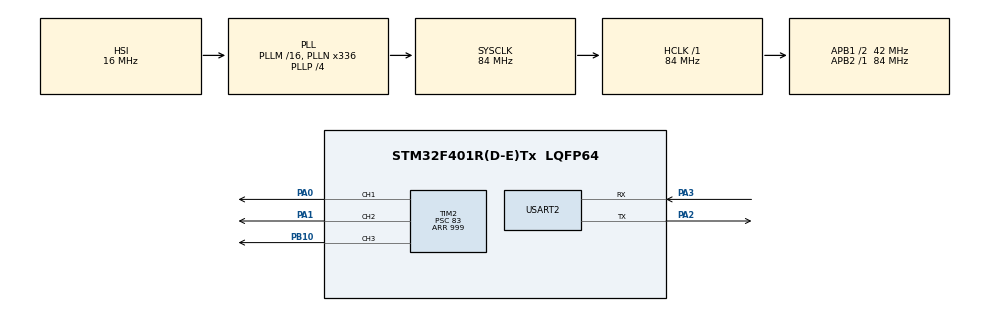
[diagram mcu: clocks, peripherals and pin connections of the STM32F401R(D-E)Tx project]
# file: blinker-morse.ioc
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Mcu.Family=STM32F4
Mcu.Name=STM32F401R(D-E)Tx
Mcu.Package=LQFP64
NVIC.PriorityGroup=NVIC_PRIORITYGROUP_0
NVIC.USART2_IRQn=true\:0\:0\:false\:false\:true\:true\:true\:true
PA0-WKUP.Signal=S_TIM2_CH1_ETR
PA1.Signal=S_TIM2_CH2
PA2.Mode=Asynchronous
PA2.Signal=USART2_TX
PA3.Mode=Asynchronous
PA3.Signal=USART2_RX
PB10.Signal=S_TIM2_CH3
ProjectManager.HeapSize=0x200
ProjectManager.StackSize=0x400
ProjectManager.TargetToolchain=STM32CubeIDE
RCC.48MHZClocksFreq_Value=48000000
RCC.AHBFreq_Value=84000000
RCC.APB1CLKDivider=RCC_HCLK_DIV2
RCC.APB1Freq_Value=42000000
RCC.APB1TimFreq_Value=84000000
RCC.APB2Freq_Value=84000000
RCC.APB2TimFreq_Value=84000000
RCC.CortexFreq_Value=84000000
RCC.HCLKFreq_Value=84000000
RCC.HSE_VALUE=8000000
RCC.HSI_VALUE=16000000
RCC.LSE_VALUE=32768
RCC.PLLN=336
RCC.PLLP=RCC_PLLP_DIV4
RCC.PLLQ=7
RCC.SYSCLKFreq_VALUE=84000000
RCC.SYSCLKSource=RCC_SYSCLKSOURCE_PLLCLK
RCC.VCOOutputFreq_Value=336000000
SH.S_TIM2_CH1_ETR.0=TIM2_CH1,PWM Generation1 CH1
SH.S_TIM2_CH2.0=TIM2_CH2,PWM Generation2 CH2
SH.S_TIM2_CH3.0=TIM2_CH3,PWM Generation3 CH3
TIM2.Channel-PWM\ Generation1\ CH1=TIM_CHANNEL_1
TIM2.Channel-PWM\ Generation2\ CH2=TIM_CHANNEL_2
TIM2.Channel-PWM\ Generation3\ CH3=TIM_CHANNEL_3
TIM2.Period=999
TIM2.Prescaler=83
USART2.VirtualMode=VM_ASYNC
VP_TIM2_VS_ClockSourceINT.Mode=Internal
board=NUCLEO-F401RE

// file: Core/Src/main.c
/* USER CODE BEGIN Header */
/**
  ******************************************************************************
  * @file           : main.c
  * @brief          : Main program body
  ******************************************************************************
  * @attention
  *
  * Copyright (c) 2026 STMicroelectronics.
  * All rights reserved.
  *
  * This software is licensed under terms that can be found in the LICENSE file
  * in the root directory of this software component.
  * If no LICENSE file comes with this software, it is provided AS-IS.
  *
  ******************************************************************************
  */
/* USER CODE END Header */
#include "main.h"

/* USER CODE BEGIN Includes */
#include <string.h>
#include <stdlib.h>
#include <stdbool.h>

/* USER CODE END Includes */

TIM_HandleTypeDef htim2;

UART_HandleTypeDef huart2;

void SystemClock_Config(void);
static void MX_GPIO_Init(void);
static void MX_USART2_UART_Init(void);
static void MX_TIM2_Init(void);

/* USER CODE BEGIN 0 */

uint8_t rx_byte;
char buffer[32];
volatile uint8_t idx = 0;              //  текущая позиция в buffer
volatile uint8_t command_ready = 0;
uint32_t last_toggle = 0;
const char alph[33][5]={{0,0,0,0,0},
		{1,3,0,0,0},{3,1,1,1,0},{1,3,3,0,0},{3,3,1,0,0},{3,1,1,0,0},{1,0,0,0,0}, //абвгде
		{1,1,1,3,0},{3,3,1,1,0},{1,1,0,0,0},{1,3,3,3,0},{3,1,3,0,0},{1,3,1,1,0}, //жзийкл
		{3,3,0,0,0},{3,1,0,0,0},{3,3,3,0,0},{1,3,3,1,0},{1,3,1,0,0},{1,1,1,0,0}, //мнопрс
		{3,0,0,0,0},{1,1,3,0,0},{1,1,3,1,0},{1,1,1,1,0},{3,1,3,1,0},{3,3,3,1,0}, //туфхцч
		{3,3,3,3,0},{3,3,1,3,0},{3,1,1,3,0},{3,1,1,3,0},{3,1,3,3,0},{1,1,3,1,1}, //шщьъыэ
		{1,1,3,3,0},{1,3,1,3,0}													 //юя
		};

char out_buf[40];
char local_buf[32];

void HAL_UART_RxCpltCallback(UART_HandleTypeDef *huart){

	if (huart->Instance ==USART2){
        if (rx_byte == '\r' || rx_byte == '\n') {
            if (idx > 0) {
                buffer[idx] = '\0';
                command_ready = 1;

            }
            idx = 0;
        }
        else if (idx < sizeof(buffer) - 1) {
            buffer[idx] = rx_byte;
            idx = idx+1;
        }

        HAL_UART_Receive_IT(&huart2, &rx_byte, 1);
    }
}

typedef enum {
	    MODE_OFF,
		MODE_ON,
	    MODE_BLINK,
	    MODE_BREATHE,
	    MODE_MORSE,
		MODE_MORSE_READ,
	    MODE_COUNT
	} led_mode;

typedef struct {
	led_mode mode;
	uint32_t channel;
    uint16_t spd;		//скорость
    uint16_t bright;
    uint32_t last_toggle;	//
    signed char dir;
    signed char level;
    char morse_letter;
    uint8_t morse_str[16];
    char morse_idx;
    uint32_t morse_next_time;
    char state;

} Led;

void off_tick(Led*led) {
	__HAL_TIM_SET_COMPARE(&htim2, led->channel, 0);
	led->state = 0;
};

void on_tick(Led*led) {
	__HAL_TIM_SET_COMPARE(&htim2, led->channel, led->bright);
	led->state = 1;
};
void blink_tick(Led*led) {
	if (HAL_GetTick() - led->last_toggle >= led->spd) {
		__HAL_TIM_SET_COMPARE(&htim2, led->channel, led->bright*led->state);
		if (led->state >0 ){
			led->state = 0;
		}
		else{
			led->state=1;
		}
		led->last_toggle = HAL_GetTick();

	}
};

void breathe_tick(Led*led) {
	if (HAL_GetTick() - led->last_toggle >= led->spd/10){
		__HAL_TIM_SET_COMPARE(&htim2, led->channel, led->bright*led->level/9);
		led->level = led->level + led->dir;
		if (led->level == 9 || led->level == 0){
		    led->dir = -led->dir;
		}
		led->last_toggle = HAL_GetTick();
		}
}

void morse_tick(Led*led) {

	if (led->morse_idx!=sizeof(alph[led->morse_str[0]])/sizeof(alph[led->morse_str[0]][0])){
			if (led->state==1){
				if (HAL_GetTick() - led->last_toggle >= led->spd*alph[led->morse_str[led->morse_letter]][led->morse_idx]/10){
					__HAL_TIM_SET_COMPARE(&htim2, led->channel, 0);
					led->state=0;
					led->morse_idx+=1;
					led->last_toggle = HAL_GetTick();
				}
			}
			else{
				if (HAL_GetTick() - led->last_toggle >= led->spd/10){
					__HAL_TIM_SET_COMPARE(&htim2, led->channel, led->bright);
					led->state=1;
					led->last_toggle = HAL_GetTick();

				}
			}
		}
		else{
			if (led->state==0){
				if (HAL_GetTick() - led->last_toggle >= led->spd*sizeof(alph[led->morse_str[0]])/sizeof(alph[led->morse_str[0]][0])/10){
					__HAL_TIM_SET_COMPARE(&htim2, led->channel, led->bright);
					led->state=1;
					led->morse_letter = (led->morse_letter + 1) % (sizeof(alph[led->morse_str[0]])/sizeof(alph[led->morse_str[0]][0]));
					led->morse_idx=0;
					led->last_toggle = HAL_GetTick();
				}
			}
		}

}

void morse_read(Led*led){
	if (!command_ready) return;
	command_ready = 0;
	char local[32];

	strcpy(local, buffer);
	strcpy(out_buf, local);
	strcat(out_buf, "\r\n");
	HAL_UART_Transmit_IT(&huart2, (uint8_t*)out_buf, strlen(out_buf));

	char i = 0;
	char j = 0;
	while(local[i] != '\0'){
		uint8_t b1 =(uint8_t)local[i];
		uint8_t b2;
		if(b1 >= 0x80){
			 b2 =(uint8_t)local[i+1];
			//i=i+1;
		}

		if (b1 == 0xD0 && b2 == 0x81) { // Ё
		            led->morse_str[j] = 5;
		            j++;
		        }
		        else if (b1 == 0xD1 && b2 == 0x91) { //  ё
		            led->morse_str[j] = 6;
		            j++;
		        }
		        else if ((b2 >> 4) == 9 || (b2 >> 4) == 0xB) { // А-П
		            led->morse_str[j] = (b2 & 0x0F)+1;
		            j++;
		        }
		        else if ((b2 >> 4) == 8 || (b2 >> 4) == 0xA) { // Р-Я
		            led->morse_str[j] = (b2 & 0x0F) + 17;
		            j++;
		        }
		i = i+2;
		//j = j+1;
	}
	led_switch_mode(led, MODE_MORSE);
}

void led_switch_mode(Led*led, led_mode new_mode){
	switch(led->mode){
	case MODE_MORSE:off_tick(led); break;
	case MODE_BREATHE:off_tick(led); break;
	default: break;
	}
	led->mode=new_mode;

	switch(led->mode){
	case MODE_MORSE_READ: memset(led->morse_str, 0, sizeof(led->morse_str)); break;
	case MODE_MORSE: off_tick(led); led->morse_idx = 0; led->morse_next_time = HAL_GetTick(); break;
	case MODE_BREATHE: led->level = 1; led->dir = 1; break;
	case MODE_BLINK: led->state = 0; led->last_toggle = HAL_GetTick();; break;
	}

}

/* USER CODE END 0 */

int main(void)
{

  /* USER CODE BEGIN 1 */

	Led led[3] = {
	        { .channel = TIM_CHANNEL_1, .bright = 500, .spd = 500, .state = 0, .dir = 1, .level = 1, .morse_idx=0, .morse_next_time=0, .morse_letter=0},
	        { .channel = TIM_CHANNEL_2, .bright = 500, .spd = 500, .state = 0, .dir = 1, .level = 1, .morse_idx=0, .morse_next_time=0, .morse_letter=0},
			{ .channel = TIM_CHANNEL_3, .bright = 500, .spd = 500, .state = 0, .dir = 1, .level = 1, .morse_idx=0, .morse_next_time=0, .morse_letter=0},
	    };
  /* USER CODE END 1 */

  /* MCU Configuration--------------------------------------------------------*/

  /* Reset of all peripherals, Initializes the Flash interface and the Systick. */
  HAL_Init();

  /* Configure the system clock */
  SystemClock_Config();

  /* Initialize all configured peripherals */
  MX_GPIO_Init();
  MX_USART2_UART_Init();
  MX_TIM2_Init();
  /* USER CODE BEGIN 2 */
  HAL_TIM_PWM_Start(&htim2, TIM_CHANNEL_1);
  HAL_TIM_PWM_Start(&htim2, TIM_CHANNEL_2);
  HAL_TIM_PWM_Start(&htim2, TIM_CHANNEL_3);
HAL_UART_Receive_IT(&huart2, &rx_byte, 1);

  /* USER CODE END 2 */

  /* Infinite loop */
  /* USER CODE BEGIN WHILE */
  while (1)
  {

	    if (command_ready) {
	        command_ready = 0;

	        strcpy(out_buf, buffer);
	        strcat(out_buf, "\r\n");
	        HAL_UART_Transmit_IT(&huart2, (uint8_t*)out_buf, strlen(out_buf));

	        strcpy(local_buf, buffer);
	        char *ld = strtok(local_buf, " ");
	        char *cmd = strtok(NULL, " ");
	        char *arg_spd = strtok(NULL, " ");
	        char *arg_brg = strtok(NULL, " ");
	        if(cmd !=NULL){
	        	led_mode parsed = MODE_COUNT;
	        	if (strcmp(cmd, "off") == 0)     parsed = MODE_OFF;
	        	if (strcmp(cmd, "on") == 0)     parsed = MODE_ON;
	        	if (strcmp(cmd, "blink") == 0)   parsed = MODE_BLINK;
	        	if (strcmp(cmd, "breathe") == 0) parsed = MODE_BREATHE;
	        	if (strcmp(cmd, "morse") == 0)   parsed = MODE_MORSE_READ;

	   	        if (parsed != MODE_COUNT) {
	   	        	led_switch_mode(&led[atoi(ld)-1], parsed);
	        	}
	        }

	        if (cmd != NULL){
	        	if (arg_spd != NULL){
	        		led[atoi(ld)-1].spd = atoi(arg_spd);
	        	}
	        }
	        if (cmd != NULL){
	        	if (arg_brg != NULL){
	        		led[atoi(ld) -1].bright = atoi(arg_brg);
	        	}
	        }

	    }

	    for (int i = 0; i<3;i+=1){
	    	switch(led[i].mode){
	    	case MODE_OFF:off_tick(&led[i]); break;
	    	case MODE_ON:on_tick(&led[i]); break;
	    	case MODE_BLINK:blink_tick(&led[i]); break;
	    	case MODE_BREATHE:breathe_tick(&led[i]); break;
	    	case MODE_MORSE_READ:morse_read(&led[i]); break;
	    	case MODE_MORSE:morse_tick(&led[i]); break;

	    	default:break;
	    	}
	    }
  }

    /* USER CODE END WHILE */

}

void SystemClock_Config(void)
{
  RCC_OscInitTypeDef RCC_OscInitStruct = {0};
  RCC_ClkInitTypeDef RCC_ClkInitStruct = {0};

  /** Configure the main internal regulator output voltage
  */
  __HAL_RCC_PWR_CLK_ENABLE();
  __HAL_PWR_VOLTAGESCALING_CONFIG(PWR_REGULATOR_VOLTAGE_SCALE2);

  /** Initializes the RCC Oscillators according to the specified parameters
  * in the RCC_OscInitTypeDef structure.
  */
  RCC_OscInitStruct.OscillatorType = RCC_OSCILLATORTYPE_HSI;
  RCC_OscInitStruct.HSIState = RCC_HSI_ON;
  RCC_OscInitStruct.HSICalibrationValue = RCC_HSICALIBRATION_DEFAULT;
  RCC_OscInitStruct.PLL.PLLState = RCC_PLL_ON;
  RCC_OscInitStruct.PLL.PLLSource = RCC_PLLSOURCE_HSI;
  RCC_OscInitStruct.PLL.PLLM = 16;
  RCC_OscInitStruct.PLL.PLLN = 336;
  RCC_OscInitStruct.PLL.PLLP = RCC_PLLP_DIV4;
  RCC_OscInitStruct.PLL.PLLQ = 7;
  if (HAL_RCC_OscConfig(&RCC_OscInitStruct) != HAL_OK)
  {
    Error_Handler();
  }

  /** Initializes the CPU, AHB and APB buses clocks
  */
  RCC_ClkInitStruct.ClockType = RCC_CLOCKTYPE_HCLK|RCC_CLOCKTYPE_SYSCLK
                              |RCC_CLOCKTYPE_PCLK1|RCC_CLOCKTYPE_PCLK2;
  RCC_ClkInitStruct.SYSCLKSource = RCC_SYSCLKSOURCE_PLLCLK;
  RCC_ClkInitStruct.AHBCLKDivider = RCC_SYSCLK_DIV1;
  RCC_ClkInitStruct.APB1CLKDivider = RCC_HCLK_DIV2;
  RCC_ClkInitStruct.APB2CLKDivider = RCC_HCLK_DIV1;

  if (HAL_RCC_ClockConfig(&RCC_ClkInitStruct, FLASH_LATENCY_2) != HAL_OK)
  {
    Error_Handler();
  }
}

static void MX_TIM2_Init(void)
{

  TIM_ClockConfigTypeDef sClockSourceConfig = {0};
  TIM_MasterConfigTypeDef sMasterConfig = {0};
  TIM_OC_InitTypeDef sConfigOC = {0};

  htim2.Instance = TIM2;
  htim2.Init.Prescaler = 83;
  htim2.Init.CounterMode = TIM_COUNTERMODE_UP;
  htim2.Init.Period = 999;
  htim2.Init.ClockDivision = TIM_CLOCKDIVISION_DIV1;
  htim2.Init.AutoReloadPreload = TIM_AUTORELOAD_PRELOAD_DISABLE;
  if (HAL_TIM_Base_Init(&htim2) != HAL_OK)
  {
    Error_Handler();
  }
  sClockSourceConfig.ClockSource = TIM_CLOCKSOURCE_INTERNAL;
  if (HAL_TIM_ConfigClockSource(&htim2, &sClockSourceConfig) != HAL_OK)
  {
    Error_Handler();
  }
  if (HAL_TIM_PWM_Init(&htim2) != HAL_OK)
  {
    Error_Handler();
  }
  sMasterConfig.MasterOutputTrigger = TIM_TRGO_RESET;
  sMasterConfig.MasterSlaveMode = TIM_MASTERSLAVEMODE_DISABLE;
  if (HAL_TIMEx_MasterConfigSynchronization(&htim2, &sMasterConfig) != HAL_OK)
  {
    Error_Handler();
  }
  sConfigOC.OCMode = TIM_OCMODE_PWM1;
  sConfigOC.Pulse = 0;
  sConfigOC.OCPolarity = TIM_OCPOLARITY_HIGH;
  sConfigOC.OCFastMode = TIM_OCFAST_DISABLE;
  if (HAL_TIM_PWM_ConfigChannel(&htim2, &sConfigOC, TIM_CHANNEL_1) != HAL_OK)
  {
    Error_Handler();
  }
  if (HAL_TIM_PWM_ConfigChannel(&htim2, &sConfigOC, TIM_CHANNEL_2) != HAL_OK)
  {
    Error_Handler();
  }
  if (HAL_TIM_PWM_ConfigChannel(&htim2, &sConfigOC, TIM_CHANNEL_3) != HAL_OK)
  {
    Error_Handler();
  }
  HAL_TIM_MspPostInit(&htim2);

}

static void MX_USART2_UART_Init(void)
{

  huart2.Instance = USART2;
  huart2.Init.BaudRate = 115200;
  huart2.Init.WordLength = UART_WORDLENGTH_8B;
  huart2.Init.StopBits = UART_STOPBITS_1;
  huart2.Init.Parity = UART_PARITY_NONE;
  huart2.Init.Mode = UART_MODE_TX_RX;
  huart2.Init.HwFlowCtl = UART_HWCONTROL_NONE;
  huart2.Init.OverSampling = UART_OVERSAMPLING_16;
  if (HAL_UART_Init(&huart2) != HAL_OK)
  {
    Error_Handler();
  }

}

static void MX_GPIO_Init(void)
{

  /* GPIO Ports Clock Enable */
  __HAL_RCC_GPIOA_CLK_ENABLE();
  __HAL_RCC_GPIOB_CLK_ENABLE();

}

void Error_Handler(void)
{
  __disable_irq();
  while (1)
  {
  }
}
